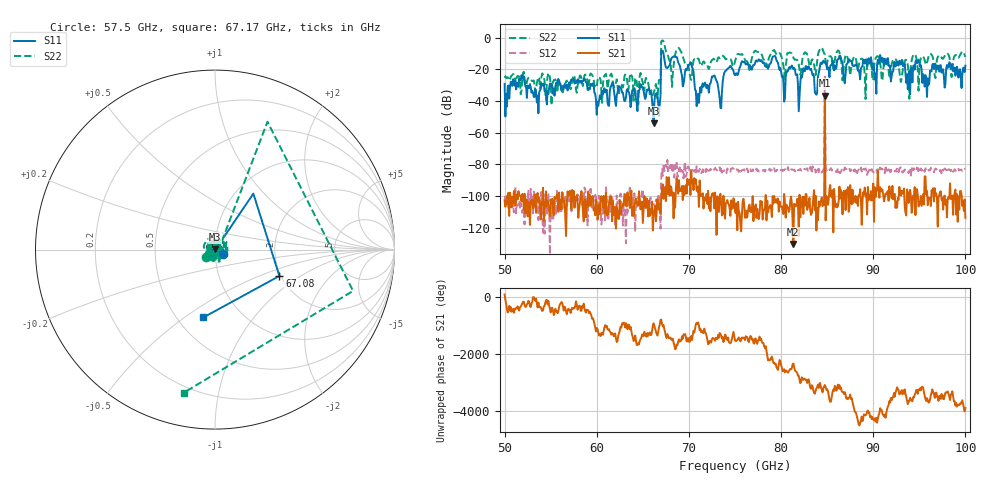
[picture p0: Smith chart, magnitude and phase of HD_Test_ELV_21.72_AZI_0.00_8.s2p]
! 11/25/2026 9:13:23 AM
! C:\ANRITSUVNA\TEMP\TEMP.S2P
! CHANNEL.1
! TR.MEASUREMENT
! RAW.DATA
# HZ S RI R 50.0
! FREQ.HZ  S11RE  S11IM  S21RE  S21IM  S12RE  S12IM  S22RE  S22IM
!; PortSelection: Port_12
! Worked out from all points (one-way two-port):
!   601 points, 50 GHz to 100 GHz, reference 50 ohm
!   highest |S21| = -36.58 dB at 84.75 GHz (marker M1); lowest = -130.5 dB at 81.33 GHz (marker M2)
!   lowest |S11| = -54.1 dB at 66.17 GHz (marker M3), VSWR 1.00, Z = 50.1 + j0.156 ohm
!   |S11| at or under -10 dB: start of sweep to 67 GHz; 67.24 GHz to end of sweep
!   |S22| runs from -42.7 to -1.8 dB; largest |S21 - S12| = 0.073
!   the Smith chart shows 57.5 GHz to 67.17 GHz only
!   S11 on the Smith chart (normalised r, x): 57.5 GHz: 1.09, -0.05; 67.08 GHz: 1.96, -0.68; 67.17 GHz: 0.67, -0.59
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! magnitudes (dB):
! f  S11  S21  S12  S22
! 50 GHz  -29.2  -102.8  -102.3  -25.3
! 57.5 GHz  -26.2  -96.9  -97.3  -23.7
! 58.42 GHz  -27.2  -100.9  -105.7  -29.0
! 60.17 GHz  -43.1  -111.6  -109.2  -24.8
! 61.67 GHz  -28.7  -116.0  -100.5  -24.5
! 66.17 GHz  -54.1  -111.5  -106.6  -35.3
! 66.67 GHz  -41.9  -108.0  -100.1  -32.1
! 67.08 GHz  -8.2  -94.8  -83.1  -1.9
! 67.17 GHz  -8.3  -92.7  -87.4  -1.8
! 70.17 GHz  -15.5  -99.4  -84.0  -25.7
! 70.92 GHz  -40.7  -97.2  -84.5  -13.3
! 75 GHz  -23.7  -109.6  -83.2  -15.0
! 81.33 GHz  -19.9  -130.5  -83.7  -12.6
! 81.83 GHz  -29.5  -104.0  -83.9  -15.0
! 83.42 GHz  -23.7  -106.6  -81.4  -13.8
! 83.83 GHz  -36.1  -121.9  -83.2  -19.5
! 84.75 GHz  -15.7  -36.6  -24.7  -10.6
! 91.67 GHz  -16.6  -103.0  -83.2  -20.5
! 93.75 GHz  -32.6  -98.3  -84.1  -17.3
! 94.83 GHz  -15.0  -99.6  -82.3  -20.3
! 95.83 GHz  -37.5  -96.8  -82.2  -15.9
! 100 GHz  -17.7  -113.9  -82.8  -12.2
